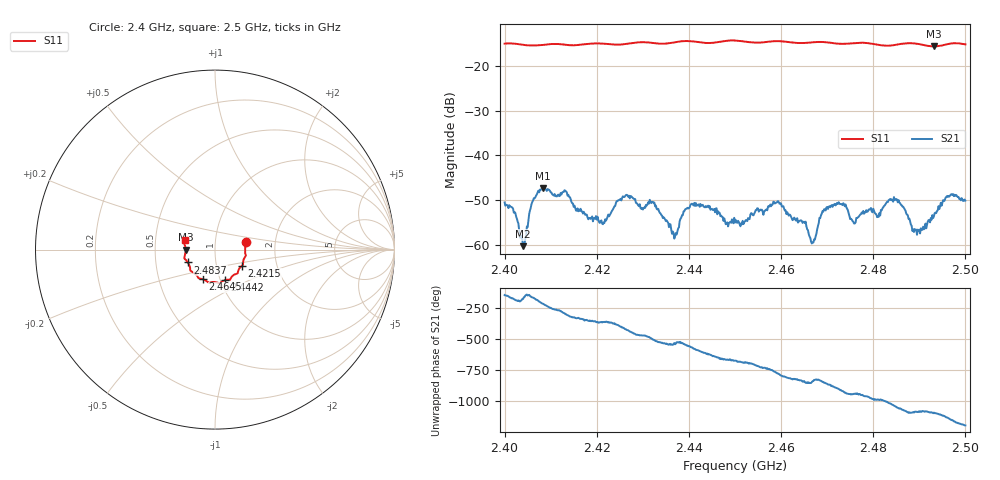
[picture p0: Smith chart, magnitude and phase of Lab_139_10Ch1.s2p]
# Hz S RI R 50
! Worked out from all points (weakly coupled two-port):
!   601 points, 2.4 GHz to 2.5 GHz, reference 50 ohm
!   highest |S21| = -47.30 dB at 2.4083 GHz (marker M1); lowest = -60.2 dB at 2.404 GHz (marker M2)
!   lowest |S11| = -15.7 dB at 2.4932 GHz (marker M3), VSWR 1.39, Z = 35.9 - j0.0571 ohm
!   |S11| at or under -10 dB: start of sweep to end of sweep
!   S12 and S22 are empty: the file has one direction only
!   S11 on the Smith chart (normalised r, x): 2.4 GHz: 1.41, +0.12; 2.4215 GHz: 1.33, -0.25; 2.4442 GHz: 1.05, -0.37; 2.4645 GHz: 0.83, -0.29; 2.4837 GHz: 0.73, -0.11; 2.5 GHz: 0.71, +0.08
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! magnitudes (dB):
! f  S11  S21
! 2.4 GHz  -15.1  -50.5
! 2.404 GHz  -15.4  -60.2
! 2.406 GHz  -15.5  -50.4
! 2.4083 GHz  -15.4  -47.3
! 2.4167 GHz  -15.3  -52.4
! 2.4215 GHz  -15.1  -55.0
! 2.4262 GHz  -15.2  -49.1
! 2.4333 GHz  -15.1  -51.9
! 2.4368 GHz  -14.8  -58.5
! 2.4393 GHz  -14.5  -51.9
! 2.4442 GHz  -15.0  -51.2
! 2.45 GHz  -14.4  -55.0
! 2.4588 GHz  -14.5  -50.6
! 2.4645 GHz  -15.0  -54.6
! 2.4667 GHz  -14.8  -59.6
! 2.4703 GHz  -14.9  -51.5
! 2.4757 GHz  -15.0  -54.8
! 2.4833 GHz  -15.6  -50.0
! 2.4837 GHz  -15.5  -49.7
! 2.489 GHz  -15.1  -56.4
! 2.4932 GHz  -15.7  -53.6
! 2.5 GHz  -15.3  -50.1
